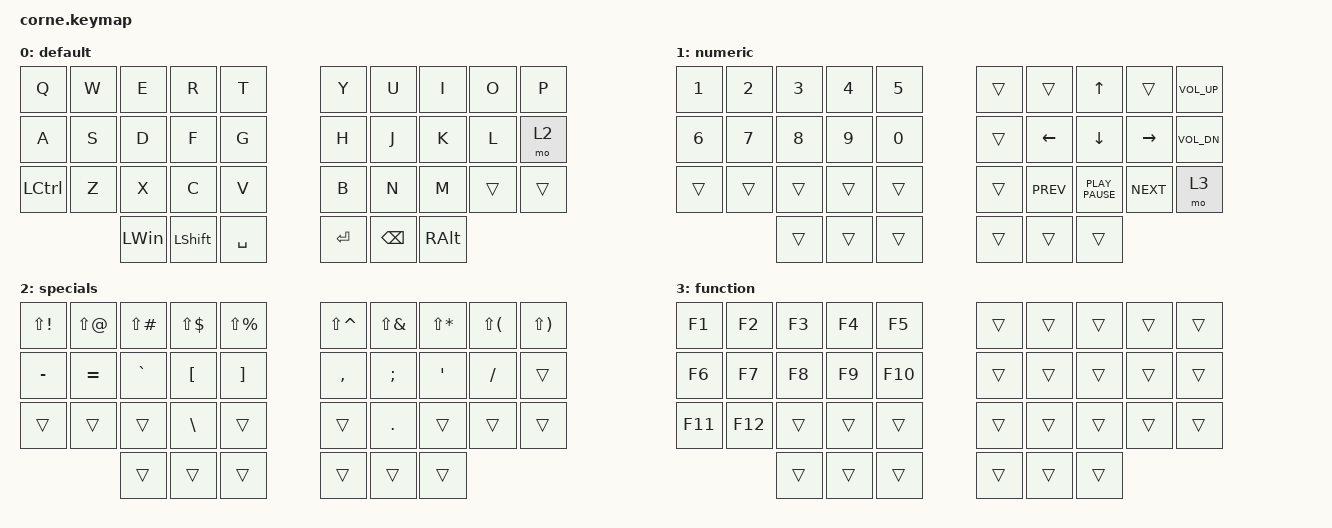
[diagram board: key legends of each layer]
#include <behaviors.dtsi>
#include <dt-bindings/zmk/keys.h>

/ {
    chosen { zmk,matrix_transform = &five_column_transform; };

    combos {
        compatible = "zmk,combos";

        tab {
            bindings = <&kp TAB>;
            key-positions = <12 13>;
        };

        del {
            bindings = <&kp DELETE>;
            key-positions = <13 14>;
        };

        caps {
            bindings = <&kp CAPSLOCK>;
            key-positions = <3 4>;
        };

        esc {
            bindings = <&kp ESCAPE>;
            key-positions = <1 2 3>;
        };

        win_shift {
            bindings = <&sl 1>;
            key-positions = <30 31>;
        };
    };

    keymap {
        compatible = "zmk,keymap";

        default {
            bindings = <
  &kp Q             &kp W  &kp E         &kp R           &kp T        &kp Y      &kp U          &kp I          &kp O   &kp P
  &kp A             &kp S  &kp D         &kp F           &kp G        &kp H      &kp J          &kp K          &kp L   &mo 2
  &kp LEFT_CONTROL  &kp Z  &kp X         &kp C           &kp V        &kp B      &kp N          &kp M          &trans  &trans
                           &kp LEFT_WIN  &kp LEFT_SHIFT  &kp SPACE    &kp ENTER  &kp BACKSPACE  &kp RIGHT_ALT
            >;
        };

        numeric {
            bindings = <
  &kp N1  &kp N2  &kp N3  &kp N4  &kp N5    &trans  &trans      &kp UP            &trans      &kp C_VOL_UP
  &kp N6  &kp N7  &kp N8  &kp N9  &kp N0    &trans  &kp LEFT    &kp DOWN          &kp RIGHT   &kp C_VOL_DN
  &trans  &trans  &trans  &trans  &trans    &trans  &kp K_PREV  &kp K_PLAY_PAUSE  &kp K_NEXT  &mo 3
                  &trans  &trans  &trans    &trans  &trans      &trans
            >;
        };

        specials {
            bindings = <
  &kp LS(EXCL)  &kp LS(AT)  &kp LS(POUND)  &kp LS(DLLR)  &kp LS(PRCNT)    &kp LS(CARET)  &kp LS(AMPS)  &kp LS(STAR)  &kp LS(LPAR)  &kp LS(RPAR)
  &kp MINUS     &kp EQUAL   &kp GRAVE      &kp LBKT      &kp RBKT         &kp COMMA      &kp SEMI      &kp SQT       &kp SLASH     &trans
  &trans        &trans      &trans         &kp BSLH      &trans           &trans         &kp PERIOD    &trans        &trans        &trans
                            &trans         &trans        &trans           &trans         &trans        &trans
            >;
        };

        function {
            bindings = <
  &kp F1   &kp F2   &kp F3  &kp F4  &kp F5     &trans  &trans  &trans  &trans  &trans
  &kp F6   &kp F7   &kp F8  &kp F9  &kp F10    &trans  &trans  &trans  &trans  &trans
  &kp F11  &kp F12  &trans  &trans  &trans     &trans  &trans  &trans  &trans  &trans
                    &trans  &trans  &trans     &trans  &trans  &trans
            >;
        };
    };
};
